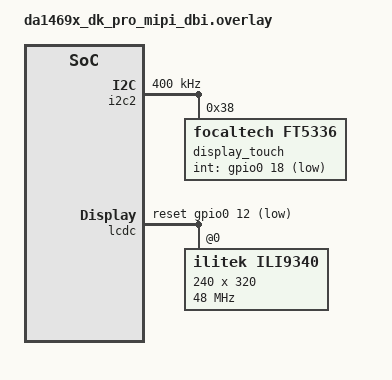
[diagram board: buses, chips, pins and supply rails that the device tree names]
/*
 * Copyright (c) 2023 Renesas Electronics Corporation
 *
 * SPDX-License-Identifier: Apache-2.0
 */

 #include <zephyr/dt-bindings/display/ili9xxx.h>
 #include <zephyr/dt-bindings/gpio/gpio.h>

/ {
	chosen {
		zephyr,display = &ili9340;
		zephyr,touch = &display_touch;
	};

	lvgl_pointer {
		input = <&display_touch>;
		status = "okay";
		swap-xy;
		invert-x;
		invert-y;
	};
};

&i2c2 {
	clock-frequency = <400000>;
	status = "okay";

	display_touch: ft6206@38 {
		compatible = "focaltech,ft5336";
		status = "okay";
		reg = <0x38>;
		int-gpios = <&gpio0 18 GPIO_ACTIVE_LOW>;
	};
};

&lcdc {
	compatible = "renesas,smartbond-mipi-dbi";
	status = "okay";
	reset-gpios = <&gpio0 12 GPIO_ACTIVE_LOW>;
	pinctrl-0 = <&mipi_dbi_default>;
	pinctrl-1 = <&mipi_dbi_read>;
	pinctrl-2 = <&mipi_dbi_sleep>;
	pinctrl-names = "default", "read", "sleep";
	#address-cells = <1>;
	#size-cells = <0>;

	ili9340: ili9340@0 {
		compatible = "ilitek,ili9340";
		mipi-max-frequency = <48000000>;
		status = "okay";
		reg = <0>;
		width = <240>;
		height = <320>;
		pixel-format = <ILI9XXX_PIXEL_FORMAT_RGB565>;
		rotation = <0>;
	};
};
